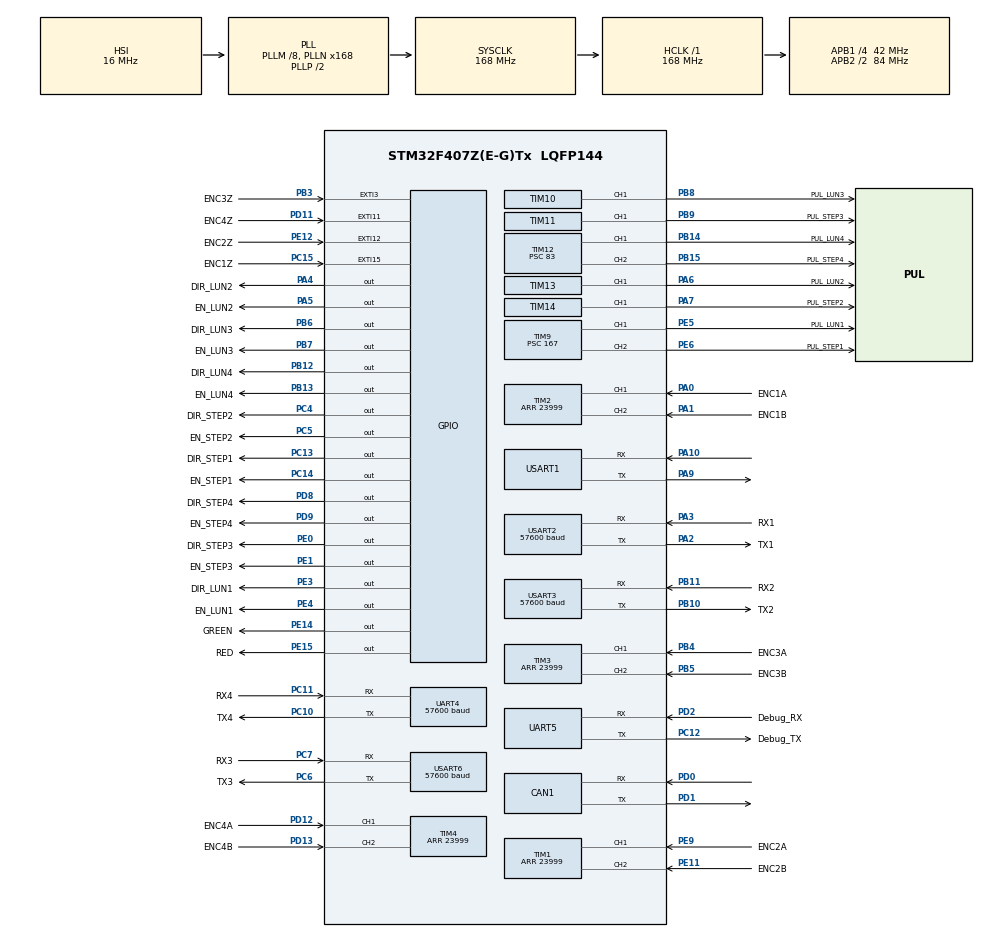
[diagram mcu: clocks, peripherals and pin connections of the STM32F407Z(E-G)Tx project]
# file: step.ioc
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CAN1.CalculateTimeBit=1142
CAN1.CalculateTimeQuantum=380.95238095238096
Mcu.Family=STM32F4
Mcu.Name=STM32F407Z(E-G)Tx
Mcu.Package=LQFP144
NVIC.EXTI15_10_IRQn=true\:0\:0\:false\:false\:true
NVIC.EXTI3_IRQn=true\:0\:0\:false\:false\:true
NVIC.PriorityGroup=NVIC_PRIORITYGROUP_4
NVIC.TIM1_BRK_TIM9_IRQn=true\:0\:0\:false\:false\:true
NVIC.TIM1_CC_IRQn=true\:0\:0\:false\:false\:true
NVIC.TIM1_TRG_COM_TIM11_IRQn=true\:0\:0\:false\:false\:true
NVIC.TIM1_UP_TIM10_IRQn=true\:0\:0\:false\:false\:true
NVIC.TIM2_IRQn=true\:0\:0\:false\:false\:true
NVIC.TIM3_IRQn=true\:0\:0\:false\:false\:true
NVIC.TIM4_IRQn=true\:0\:0\:false\:false\:true
NVIC.TIM8_BRK_TIM12_IRQn=true\:0\:0\:false\:false\:true
NVIC.TIM8_TRG_COM_TIM14_IRQn=true\:0\:0\:false\:false\:true
NVIC.TIM8_UP_TIM13_IRQn=true\:0\:0\:false\:false\:true
NVIC.UART5_IRQn=true\:0\:0\:false\:false\:true
PA0-WKUP.GPIO_Label=ENC1A
PA0-WKUP.Signal=S_TIM2_CH1_ETR
PA1.GPIO_Label=ENC1B
PA1.Signal=S_TIM2_CH2
PA10.Mode=Asynchronous
PA10.Signal=USART1_RX
PA13.GPIO_Label=SYS_JTMS_SWDIO
PA13.Mode=Serial_Wire
PA13.Signal=SYS_JTMS-SWDIO
PA14.GPIO_Label=SYS_JTCK_SWCLK
PA14.Mode=Serial_Wire
PA14.Signal=SYS_JTCK-SWCLK
PA2.GPIO_Label=TX1
PA2.Mode=Asynchronous
PA2.Signal=USART2_TX
PA3.GPIO_Label=RX1
PA3.Mode=Asynchronous
PA3.Signal=USART2_RX
PA4.GPIO_Label=DIR_LUN2
PA4.GPIO_PuPd=GPIO_PULLUP
PA4.Signal=GPIO_Output
PA5.GPIO_Label=EN_LUN2
PA5.Signal=GPIO_Output
PA6.GPIO_Label=PUL_LUN2
PA6.Signal=S_TIM13_CH1
PA7.GPIO_Label=PUL_STEP2
PA7.Signal=S_TIM14_CH1
PA9.Mode=Asynchronous
PA9.Signal=USART1_TX
PB10.GPIO_Label=TX2
PB10.Mode=Asynchronous
PB10.Signal=USART3_TX
PB11.GPIO_Label=RX2
PB11.Mode=Asynchronous
PB11.Signal=USART3_RX
PB12.GPIO_Label=DIR_LUN4
PB12.GPIO_PuPd=GPIO_PULLUP
PB12.Signal=GPIO_Output
PB13.GPIO_Label=EN_LUN4
PB13.Signal=GPIO_Output
PB14.GPIO_Label=PUL_LUN4
PB14.Signal=S_TIM12_CH1
PB15.GPIO_Label=PUL_STEP4
PB15.Signal=S_TIM12_CH2
PB3.GPIO_Label=ENC3Z
PB3.GPIO_ModeDefaultEXTI=GPIO_MODE_IT_FALLING
PB3.GPIO_PuPd=GPIO_PULLDOWN
PB3.Signal=GPXTI3
PB4.GPIO_Label=ENC3A
PB4.Signal=S_TIM3_CH1
PB5.GPIO_Label=ENC3B
PB5.Signal=S_TIM3_CH2
PB6.GPIO_Label=DIR_LUN3
PB6.GPIO_PuPd=GPIO_PULLUP
PB6.Signal=GPIO_Output
PB7.GPIO_Label=EN_LUN3
PB7.Signal=GPIO_Output
PB8.GPIO_Label=PUL_LUN3
PB8.Signal=S_TIM10_CH1
PB9.GPIO_Label=PUL_STEP3
PB9.Signal=S_TIM11_CH1
PC10.GPIO_Label=TX4
PC10.Mode=Asynchronous
PC10.Signal=UART4_TX
PC11.GPIO_Label=RX4
PC11.Mode=Asynchronous
PC11.Signal=UART4_RX
PC12.GPIO_Label=Debug_TX
PC12.Mode=Asynchronous
PC12.Signal=UART5_TX
PC13-ANTI_TAMP.GPIO_Label=DIR_STEP1
PC13-ANTI_TAMP.GPIO_PuPd=GPIO_PULLUP
PC13-ANTI_TAMP.Signal=GPIO_Output
PC14-OSC32_IN.GPIO_Label=EN_STEP1
PC14-OSC32_IN.GPIO_PuPd=GPIO_PULLUP
PC14-OSC32_IN.Signal=GPIO_Output
PC15-OSC32_OUT.GPIO_Label=ENC1Z
PC15-OSC32_OUT.GPIO_ModeDefaultEXTI=GPIO_MODE_IT_FALLING
PC15-OSC32_OUT.GPIO_PuPd=GPIO_PULLDOWN
PC15-OSC32_OUT.Signal=GPXTI15
PC4.GPIO_Label=DIR_STEP2
PC4.GPIO_PuPd=GPIO_PULLUP
PC4.Signal=GPIO_Output
PC5.GPIO_Label=EN_STEP2
PC5.GPIO_PuPd=GPIO_PULLUP
PC5.Signal=GPIO_Output
PC6.GPIO_Label=TX3
PC6.Mode=Asynchronous
PC6.Signal=USART6_TX
PC7.GPIO_Label=RX3
PC7.Mode=Asynchronous
PC7.Signal=USART6_RX
PD0.Mode=Master
PD0.Signal=CAN1_RX
PD1.Mode=Master
PD1.Signal=CAN1_TX
PD11.GPIO_Label=ENC4Z
PD11.GPIO_ModeDefaultEXTI=GPIO_MODE_IT_FALLING
PD11.GPIO_PuPd=GPIO_PULLDOWN
PD11.Signal=GPXTI11
PD12.GPIO_Label=ENC4A
PD12.Signal=S_TIM4_CH1
PD13.GPIO_Label=ENC4B
PD13.Signal=S_TIM4_CH2
PD2.GPIO_Label=Debug_RX
PD2.Mode=Asynchronous
PD2.Signal=UART5_RX
PD8.GPIO_Label=DIR_STEP4
PD8.GPIO_PuPd=GPIO_PULLUP
PD8.Signal=GPIO_Output
PD9.GPIO_Label=EN_STEP4
PD9.GPIO_PuPd=GPIO_PULLUP
PD9.Signal=GPIO_Output
PE0.GPIO_Label=DIR_STEP3
PE0.GPIO_PuPd=GPIO_PULLUP
PE0.Signal=GPIO_Output
PE1.GPIO_Label=EN_STEP3
PE1.GPIO_PuPd=GPIO_PULLUP
PE1.Signal=GPIO_Output
PE11.GPIO_Label=ENC2B
PE11.Signal=S_TIM1_CH2
PE12.GPIO_Label=ENC2Z
PE12.GPIO_ModeDefaultEXTI=GPIO_MODE_IT_FALLING
PE12.GPIO_PuPd=GPIO_PULLDOWN
PE12.Signal=GPXTI12
PE14.GPIO_Label=GREEN
PE14.Signal=GPIO_Output
PE15.GPIO_Label=RED
PE15.Signal=GPIO_Output
PE3.GPIO_Label=DIR_LUN1
PE3.GPIO_PuPd=GPIO_PULLUP
PE3.Signal=GPIO_Output
PE4.GPIO_Label=EN_LUN1
PE4.Signal=GPIO_Output
PE5.GPIO_Label=PUL_LUN1
PE5.Signal=S_TIM9_CH1
PE6.GPIO_Label=PUL_STEP1
PE6.Signal=S_TIM9_CH2
PE9.GPIO_Label=ENC2A
PE9.Signal=S_TIM1_CH1
PH0-OSC_IN.Mode=HSE-External-Oscillator
PH0-OSC_IN.Signal=RCC_OSC_IN
PH1-OSC_OUT.GPIO_Label=RCC_OSC_OUT
PH1-OSC_OUT.Mode=HSE-External-Oscillator
PH1-OSC_OUT.Signal=RCC_OSC_OUT
ProjectManager.HeapSize=0x200
ProjectManager.StackSize=0x400
ProjectManager.TargetToolchain=MDK-ARM V5
RCC.48MHZClocksFreq_Value=84000000
RCC.AHBFreq_Value=168000000
RCC.APB1CLKDivider=RCC_HCLK_DIV4
RCC.APB1Freq_Value=42000000
RCC.APB1TimFreq_Value=84000000
RCC.APB2CLKDivider=RCC_HCLK_DIV2
RCC.APB2Freq_Value=84000000
RCC.APB2TimFreq_Value=168000000
RCC.CortexFreq_Value=168000000
RCC.HCLKFreq_Value=168000000
RCC.HSE_VALUE=25000000
RCC.HSI_VALUE=16000000
RCC.LSE_VALUE=32768
RCC.PLLM=8
RCC.PLLN=168
RCC.SYSCLKFreq_VALUE=168000000
RCC.SYSCLKSource=RCC_SYSCLKSOURCE_PLLCLK
RCC.VCOOutputFreq_Value=336000000
SH.S_TIM10_CH1.0=TIM10_CH1,PWM Generation1 CH1
SH.S_TIM11_CH1.0=TIM11_CH1,PWM Generation1 CH1
SH.S_TIM12_CH1.0=TIM12_CH1,PWM Generation1 CH1
SH.S_TIM12_CH2.0=TIM12_CH2,PWM Generation2 CH2
SH.S_TIM13_CH1.0=TIM13_CH1,PWM Generation1 CH1
SH.S_TIM14_CH1.0=TIM14_CH1,PWM Generation1 CH1
SH.S_TIM1_CH1.0=TIM1_CH1,Input_Capture1_from_TI1
SH.S_TIM1_CH2.0=TIM1_CH2,Input_Capture2_from_TI2
SH.S_TIM2_CH1_ETR.0=TIM2_CH1,Input_Capture1_from_TI1
SH.S_TIM2_CH2.0=TIM2_CH2,Input_Capture2_from_TI2
SH.S_TIM3_CH1.0=TIM3_CH1,Input_Capture1_from_TI1
SH.S_TIM3_CH2.0=TIM3_CH2,Input_Capture2_from_TI2
SH.S_TIM4_CH1.0=TIM4_CH1,Input_Capture1_from_TI1
SH.S_TIM4_CH2.0=TIM4_CH2,Input_Capture2_from_TI2
SH.S_TIM9_CH1.0=TIM9_CH1,PWM Generation1 CH1
SH.S_TIM9_CH2.0=TIM9_CH2,PWM Generation2 CH2
TIM1.Channel-Input_Capture1_from_TI1=TIM_CHANNEL_1
TIM1.Channel-Input_Capture2_from_TI2=TIM_CHANNEL_2
TIM1.Period=23999
TIM10.Channel=TIM_CHANNEL_1
TIM10.Period=999
TIM10.Prescaler=167
TIM11.Channel=TIM_CHANNEL_1
TIM11.Period=999
TIM11.Prescaler=167
TIM11.Pulse=500
TIM12.Channel-PWM\ Generation1\ CH1=TIM_CHANNEL_1
TIM12.Channel-PWM\ Generation2\ CH2=TIM_CHANNEL_2
TIM12.Period=999
TIM12.Prescaler=83
TIM12.Pulse-PWM\ Generation2\ CH2=500
TIM13.Channel=TIM_CHANNEL_1
TIM13.Period=999
TIM13.Prescaler=83
TIM14.Channel=TIM_CHANNEL_1
TIM14.Period=999
TIM14.Prescaler=83
TIM14.Pulse=500
TIM2.Channel-Input_Capture1_from_TI1=TIM_CHANNEL_1
TIM2.Channel-Input_Capture2_from_TI2=TIM_CHANNEL_2
TIM2.Period=23999
TIM3.Channel-Input_Capture1_from_TI1=TIM_CHANNEL_1
TIM3.Channel-Input_Capture2_from_TI2=TIM_CHANNEL_2
TIM3.Period=23999
TIM4.Channel-Input_Capture1_from_TI1=TIM_CHANNEL_1
TIM4.Channel-Input_Capture2_from_TI2=TIM_CHANNEL_2
TIM4.Period=23999
TIM9.Channel-PWM\ Generation1\ CH1=TIM_CHANNEL_1
TIM9.Channel-PWM\ Generation2\ CH2=TIM_CHANNEL_2
TIM9.Period=999
TIM9.Prescaler=167
TIM9.Pulse-PWM\ Generation2\ CH2=500
UART4.BaudRate=57600
UART4.VirtualMode=Asynchronous
UART5.VirtualMode=Asynchronous
USART1.VirtualMode=VM_ASYNC
USART2.BaudRate=57600
USART2.VirtualMode=VM_ASYNC
USART3.BaudRate=57600
USART3.VirtualMode=VM_ASYNC
USART6.BaudRate=57600
USART6.VirtualMode=VM_ASYNC
VP_TIM10_VS_ClockSourceINT.Mode=Enable_Timer
VP_TIM11_VS_ClockSourceINT.Mode=Enable_Timer
VP_TIM12_VS_ClockSourceINT.Mode=Internal
VP_TIM13_VS_ClockSourceINT.Mode=Enable_Timer
VP_TIM14_VS_ClockSourceINT.Mode=Enable_Timer
VP_TIM9_VS_ClockSourceINT.Mode=Internal
board=step

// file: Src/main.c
/**
  ******************************************************************************
  * File Name          : main.c
  * Description        : Main program body
  ******************************************************************************
  ** This notice applies to any and all portions of this file
  * that are not between comment pairs USER CODE BEGIN and
  * USER CODE END. Other portions of this file, whether
  * inserted by the user or by software development tools
  * are owned by their respective copyright owners.
  *
  * COPYRIGHT(c) 2017 STMicroelectronics
  *
  * Redistribution and use in source and binary forms, with or without modification,
  * are permitted provided that the following conditions are met:
  *   1. Redistributions of source code must retain the above copyright notice,
  *      this list of conditions and the following disclaimer.
  *   2. Redistributions in binary form must reproduce the above copyright notice,
  *      this list of conditions and the following disclaimer in the documentation
  *      and/or other materials provided with the distribution.
  *   3. Neither the name of STMicroelectronics nor the names of its contributors
  *      may be used to endorse or promote products derived from this software
  *      without specific prior written permission.
  *
  * THIS SOFTWARE IS PROVIDED BY THE COPYRIGHT HOLDERS AND CONTRIBUTORS "AS IS"
  * AND ANY EXPRESS OR IMPLIED WARRANTIES, INCLUDING, BUT NOT LIMITED TO, THE
  * IMPLIED WARRANTIES OF MERCHANTABILITY AND FITNESS FOR A PARTICULAR PURPOSE ARE
  * DISCLAIMED. IN NO EVENT SHALL THE COPYRIGHT HOLDER OR CONTRIBUTORS BE LIABLE
  * FOR ANY DIRECT, INDIRECT, INCIDENTAL, SPECIAL, EXEMPLARY, OR CONSEQUENTIAL
  * DAMAGES (INCLUDING, BUT NOT LIMITED TO, PROCUREMENT OF SUBSTITUTE GOODS OR
  * SERVICES; LOSS OF USE, DATA, OR PROFITS; OR BUSINESS INTERRUPTION) HOWEVER
  * CAUSED AND ON ANY THEORY OF LIABILITY, WHETHER IN CONTRACT, STRICT LIABILITY,
  * OR TORT (INCLUDING NEGLIGENCE OR OTHERWISE) ARISING IN ANY WAY OUT OF THE USE
  * OF THIS SOFTWARE, EVEN IF ADVISED OF THE POSSIBILITY OF SUCH DAMAGE.
  *
  ******************************************************************************
  */
#include "main.h"
#include "stm32f4xx_hal.h"
#include "can.h"
#include "tim.h"
#include "usart.h"
#include "gpio.h"

/* USER CODE BEGIN Includes */
#include "lun.h"
#include "wmdstep.h"
#include "encode.h"
#include "debug.h"
/* USER CODE END Includes */

/* USER CODE BEGIN PV */
/* Private variables ---------------------------------------------------------*/

/* USER CODE END PV */

void SystemClock_Config(void);

/* USER CODE BEGIN PFP */
/* Private function prototypes -----------------------------------------------*/

/* USER CODE END PFP */

/* USER CODE BEGIN 0 */
extern int32_t code[5];

/* USER CODE END 0 */

int main(void)
{

  /* MCU Configuration----------------------------------------------------------*/

  /* Reset of all peripherals, Initializes the Flash interface and the Systick. */
  HAL_Init();

  /* Configure the system clock */
  SystemClock_Config();

  /* Initialize all configured peripherals */
  MX_GPIO_Init();
  MX_CAN1_Init();
  MX_TIM9_Init();
  MX_TIM10_Init();
  MX_TIM11_Init();
  MX_TIM12_Init();
  MX_TIM13_Init();
  MX_TIM14_Init();
  MX_UART4_Init();
  MX_UART5_Init();
  MX_USART1_UART_Init();
  MX_USART2_UART_Init();
  MX_USART3_UART_Init();
  MX_USART6_UART_Init();
  MX_TIM4_Init();
  MX_TIM1_Init();
  MX_TIM3_Init();
  MX_TIM2_Init();

  /* USER CODE BEGIN 2 */
	Step_Init();
	Encode_Init();
	Debug_Init();
	//编码器有四个读值函数 int Encode1_value(void); 返回值为实际脉冲个数

  /* USER CODE END 2 */

  /* Infinite loop */
  while (1)
  {

  /* USER CODE BEGIN 3 */
	Encode_f5();
	printf("1:%d,2:%d,3:%d,4:%d\n",code[1],code[2],code[3],code[4]);

	Step_Set(1,800);
	Step_Set(2,800);
	Step_Set(3,800);
	Step_Set(4,800);
		HAL_Delay(1000);

	Step_Set(1,-800);
	Step_Set(2,-800);
	Step_Set(3,-800);
	Step_Set(4,-800);
		HAL_Delay(1000);
  }
  /* USER CODE END 3 */

}

/** System Clock Configuration
*/
void SystemClock_Config(void)
{

  RCC_OscInitTypeDef RCC_OscInitStruct;
  RCC_ClkInitTypeDef RCC_ClkInitStruct;

    /**Configure the main internal regulator output voltage
    */
  __HAL_RCC_PWR_CLK_ENABLE();

  __HAL_PWR_VOLTAGESCALING_CONFIG(PWR_REGULATOR_VOLTAGE_SCALE1);

    /**Initializes the CPU, AHB and APB busses clocks
    */
  RCC_OscInitStruct.OscillatorType = RCC_OSCILLATORTYPE_HSI;
  RCC_OscInitStruct.HSIState = RCC_HSI_ON;
  RCC_OscInitStruct.HSICalibrationValue = 16;
  RCC_OscInitStruct.PLL.PLLState = RCC_PLL_ON;
  RCC_OscInitStruct.PLL.PLLSource = RCC_PLLSOURCE_HSI;
  RCC_OscInitStruct.PLL.PLLM = 8;
  RCC_OscInitStruct.PLL.PLLN = 168;
  RCC_OscInitStruct.PLL.PLLP = RCC_PLLP_DIV2;
  RCC_OscInitStruct.PLL.PLLQ = 4;
  if (HAL_RCC_OscConfig(&RCC_OscInitStruct) != HAL_OK)
  {
    _Error_Handler(__FILE__, __LINE__);
  }

    /**Initializes the CPU, AHB and APB busses clocks
    */
  RCC_ClkInitStruct.ClockType = RCC_CLOCKTYPE_HCLK|RCC_CLOCKTYPE_SYSCLK
                              |RCC_CLOCKTYPE_PCLK1|RCC_CLOCKTYPE_PCLK2;
  RCC_ClkInitStruct.SYSCLKSource = RCC_SYSCLKSOURCE_PLLCLK;
  RCC_ClkInitStruct.AHBCLKDivider = RCC_SYSCLK_DIV1;
  RCC_ClkInitStruct.APB1CLKDivider = RCC_HCLK_DIV4;
  RCC_ClkInitStruct.APB2CLKDivider = RCC_HCLK_DIV2;

  if (HAL_RCC_ClockConfig(&RCC_ClkInitStruct, FLASH_LATENCY_5) != HAL_OK)
  {
    _Error_Handler(__FILE__, __LINE__);
  }

    /**Configure the Systick interrupt time
    */
  HAL_SYSTICK_Config(HAL_RCC_GetHCLKFreq()/1000);

    /**Configure the Systick
    */
  HAL_SYSTICK_CLKSourceConfig(SYSTICK_CLKSOURCE_HCLK);

  /* SysTick_IRQn interrupt configuration */
  HAL_NVIC_SetPriority(SysTick_IRQn, 0, 0);
}

/* USER CODE BEGIN 4 */
int fputc(int ch,FILE *f)
{
    uint8_t temp[1]={ch};
    HAL_UART_Transmit(&huart1 ,temp,1,2);
    return 1;
}
/* USER CODE END 4 */

void _Error_Handler(char * file, int line)
{
  while(1)
  {
  }
}

/************************ (C) COPYRIGHT STMicroelectronics *****END OF FILE****/
